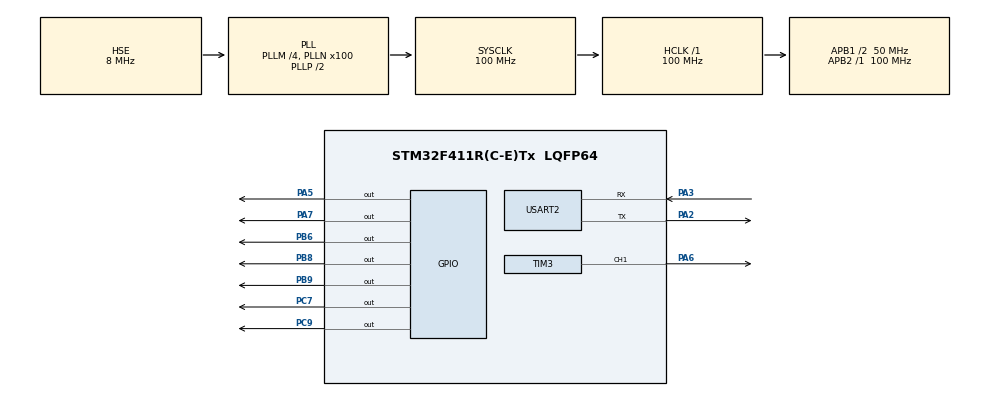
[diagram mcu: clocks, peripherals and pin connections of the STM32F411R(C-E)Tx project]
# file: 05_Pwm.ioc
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Mcu.Family=STM32F4
Mcu.Name=STM32F411R(C-E)Tx
Mcu.Package=LQFP64
NVIC.PriorityGroup=NVIC_PRIORITYGROUP_4
NVIC.USART2_IRQn=true\:0\:0\:false\:false\:true\:true\:true\:true
PA13.Mode=Serial_Wire
PA13.Signal=SYS_JTMS-SWDIO
PA14.Mode=Serial_Wire
PA14.Signal=SYS_JTCK-SWCLK
PA2.Mode=Asynchronous
PA2.Signal=USART2_TX
PA3.Mode=Asynchronous
PA3.Signal=USART2_RX
PA5.Signal=GPIO_Output
PA6.Signal=S_TIM3_CH1
PA7.Signal=GPIO_Output
PB6.Signal=GPIO_Output
PB8.Signal=GPIO_Output
PB9.Signal=GPIO_Output
PC7.Signal=GPIO_Output
PC9.Signal=GPIO_Output
PH0\ -\ OSC_IN.Mode=HSE-External-Oscillator
PH0\ -\ OSC_IN.Signal=RCC_OSC_IN
PH1\ -\ OSC_OUT.Mode=HSE-External-Oscillator
PH1\ -\ OSC_OUT.Signal=RCC_OSC_OUT
ProjectManager.HeapSize=0x200
ProjectManager.StackSize=0x400
ProjectManager.TargetToolchain=STM32CubeIDE
RCC.48MHZClocksFreq_Value=50000000
RCC.AHBFreq_Value=100000000
RCC.APB1CLKDivider=RCC_HCLK_DIV2
RCC.APB1Freq_Value=50000000
RCC.APB1TimFreq_Value=100000000
RCC.APB2Freq_Value=100000000
RCC.APB2TimFreq_Value=100000000
RCC.CortexFreq_Value=100000000
RCC.HCLKFreq_Value=100000000
RCC.HSE_VALUE=8000000
RCC.HSI_VALUE=16000000
RCC.LSE_VALUE=32768
RCC.PLLM=4
RCC.PLLN=100
RCC.PLLSourceVirtual=RCC_PLLSOURCE_HSE
RCC.SYSCLKFreq_VALUE=100000000
RCC.SYSCLKSource=RCC_SYSCLKSOURCE_PLLCLK
RCC.VCOOutputFreq_Value=200000000
SH.S_TIM3_CH1.0=TIM3_CH1,PWM Generation1 CH1
TIM3.Channel-PWM\ Generation1\ CH1=TIM_CHANNEL_1
TIM3.Period=1000-1
TIM3.Prescaler=2000-1
TIM3.Pulse-PWM\ Generation1\ CH1=500
USART2.VirtualMode=VM_ASYNC
VP_TIM3_VS_ClockSourceINT.Mode=Internal
board=custom

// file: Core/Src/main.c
/* USER CODE BEGIN Header */
/**
  ******************************************************************************
  * @file           : main.c
  * @brief          : Main program body
  ******************************************************************************
  * @attention
  *
  * Copyright (c) 2025 STMicroelectronics.
  * All rights reserved.
  *
  * This software is licensed under terms that can be found in the LICENSE file
  * in the root directory of this software component.
  * If no LICENSE file comes with this software, it is provided AS-IS.
  *
  ******************************************************************************
  */
/* USER CODE END Header */
#include "main.h"
#include "tim.h"
#include "usart.h"
#include "gpio.h"

/* USER CODE BEGIN Includes */

#include "led.h"

/* USER CODE END Includes */

/* USER CODE BEGIN PV */

volatile uint8_t rxData; // UART 수신 버퍼로 사용 (ISR에 의해 변경됨)

volatile uint8_t rxAFlag = 0; // 'a' 명령어 처리를 위한 플래그
volatile uint8_t rxBFlag = 0; // 'b' 명령어 처리를 위한 플래그
volatile uint8_t rxCFlag = 0; // 기존 플래그, volatile로 변경

/* USER CODE END PV */

void SystemClock_Config(void);
/* USER CODE BEGIN PFP */

void HAL_UART_RxCpltCallback(UART_HandleTypeDef *huart)
{
  if (huart->Instance == USART2)
  {
    // 현재 수신된 문자는 rxData에 저장되어 있습니다.
    // 다음 문자 수신을 위해 UART 수신 인터럽트를 다시 활성화합니다.
    // 가능한 한 빨리 인터럽트를 재활성화하는 것이 좋습니다.
    HAL_UART_Receive_IT(&huart2, (uint8_t*)&rxData, 1); // 다음 문자를 저장할 버퍼로 volatile rxData 사용

    // 방금 수신된 문자 처리
    if (rxData == 'a'){
      uint8_t _text[] = "-90 degree \n";
      HAL_UART_Transmit(&huart2, _text, sizeof(_text), 100);
      rxAFlag = 1; // 'a' 플래그 설정
    }
    else if (rxData == 'b'){
      uint8_t _text[] = "0 degree \n";
      HAL_UART_Transmit(&huart2, _text, sizeof(_text), 100);
      rxBFlag = 1; // 'b' 플래그 설정
    }
    else if (rxData == 'c'){
      uint8_t _text[] = "90 degree \n";
      HAL_UART_Transmit(&huart2, _text, sizeof(_text), 100);
      rxCFlag = 1; // 'c' 플래그 설정
    }
  }
}

/* USER CODE END PFP */

int main(void)
{

  /* MCU Configuration--------------------------------------------------------*/

  /* Reset of all peripherals, Initializes the Flash interface and the Systick. */
  HAL_Init();

  /* Configure the system clock */
  SystemClock_Config();

  /* Initialize all configured peripherals */
  MX_GPIO_Init();
  MX_TIM3_Init();
  MX_USART2_UART_Init();
  /* USER CODE BEGIN 2 */

  HAL_UART_Receive_IT(&huart2, (uint8_t*)&rxData, 1);

  HAL_TIM_PWM_Start(&htim3, TIM_CHANNEL_1);
  //TIM3->CCR1 = 500;

  /* USER CODE END 2 */

  /* Infinite loop */
  /* USER CODE BEGIN WHILE */
  while (1)
  {
    if (rxAFlag == 1){
      ledToggle(8);
      TIM3->CCR1 = 25;
      HAL_Delay(1000);
      ledToggle(8);
      //ledLeftShift(8);

      rxAFlag = 0; // 플래그 클리어
    }
    else if (rxBFlag == 1){
      ledToggle(8);
      TIM3->CCR1 = 75;
      HAL_Delay(1000);
      ledToggle(8);
      //ledLeftShift(8);

      rxBFlag = 0; // 플래그 클리어
    }
    else if (rxCFlag == 1){
      ledToggle(8);
      TIM3->CCR1 = 125;
      HAL_Delay(1000);
      ledToggle(8);
      //ledFlower(8);

      rxCFlag = 0; // 플래그 클리어
    }

    // 25, 75, 125
//    TIM3->CCR1 = 25;
//    HAL_Delay(1000);
//
//    TIM3->CCR1 = 75;
//    HAL_Delay(1000);
//
//    TIM3->CCR1 = 125;
//    HAL_Delay(1000);

    /* USER CODE END WHILE */

  }
}

void SystemClock_Config(void)
{
  RCC_OscInitTypeDef RCC_OscInitStruct = {0};
  RCC_ClkInitTypeDef RCC_ClkInitStruct = {0};

  /** Configure the main internal regulator output voltage
  */
  __HAL_RCC_PWR_CLK_ENABLE();
  __HAL_PWR_VOLTAGESCALING_CONFIG(PWR_REGULATOR_VOLTAGE_SCALE1);

  /** Initializes the RCC Oscillators according to the specified parameters
  * in the RCC_OscInitTypeDef structure.
  */
  RCC_OscInitStruct.OscillatorType = RCC_OSCILLATORTYPE_HSE;
  RCC_OscInitStruct.HSEState = RCC_HSE_ON;
  RCC_OscInitStruct.PLL.PLLState = RCC_PLL_ON;
  RCC_OscInitStruct.PLL.PLLSource = RCC_PLLSOURCE_HSE;
  RCC_OscInitStruct.PLL.PLLM = 4;
  RCC_OscInitStruct.PLL.PLLN = 100;
  RCC_OscInitStruct.PLL.PLLP = RCC_PLLP_DIV2;
  RCC_OscInitStruct.PLL.PLLQ = 4;
  if (HAL_RCC_OscConfig(&RCC_OscInitStruct) != HAL_OK)
  {
    Error_Handler();
  }

  /** Initializes the CPU, AHB and APB buses clocks
  */
  RCC_ClkInitStruct.ClockType = RCC_CLOCKTYPE_HCLK|RCC_CLOCKTYPE_SYSCLK
                              |RCC_CLOCKTYPE_PCLK1|RCC_CLOCKTYPE_PCLK2;
  RCC_ClkInitStruct.SYSCLKSource = RCC_SYSCLKSOURCE_PLLCLK;
  RCC_ClkInitStruct.AHBCLKDivider = RCC_SYSCLK_DIV1;
  RCC_ClkInitStruct.APB1CLKDivider = RCC_HCLK_DIV2;
  RCC_ClkInitStruct.APB2CLKDivider = RCC_HCLK_DIV1;

  if (HAL_RCC_ClockConfig(&RCC_ClkInitStruct, FLASH_LATENCY_3) != HAL_OK)
  {
    Error_Handler();
  }
}

void Error_Handler(void)
{
  __disable_irq();
  while (1)
  {
  }
}
